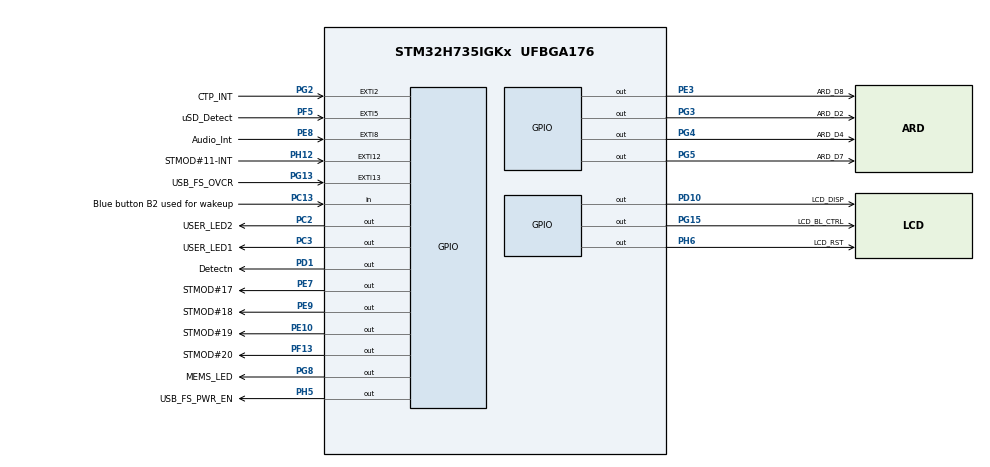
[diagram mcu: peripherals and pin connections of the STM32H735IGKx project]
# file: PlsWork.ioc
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Mcu.Family=STM32H7
Mcu.Name=STM32H735IGKx
Mcu.Package=UFBGA176
NVIC.PriorityGroup=NVIC_PRIORITYGROUP_4
PA0.GPIO_Label=ARD_D3
PA0.Signal=S_TIM5_CH1
PA0_C.GPIO_Label=ARD_A2
PA0_C.Signal=ADCx_INP0
PA1.GPIO_Label=RMII_REF_CLK
PA1.GPIO_Speed=GPIO_SPEED_FREQ_LOW
PA1.Signal=ETH_REF_CLK
PA10.GPIO_Label=USB_FS_ID
PA10.Signal=USB_OTG_HS_ID
PA11.GPIO_Label=USB_FS_DM
PA11.Signal=USB_OTG_HS_DM
PA12.GPIO_Label=USB_FS_DP
PA12.Signal=USB_OTG_HS_DP
PA13(JTMS/SWDIO).GPIO_Label=JTMS
PA13(JTMS/SWDIO).Signal=DEBUG_JTMS-SWDIO
PA14(JTCK/SWCLK).GPIO_Label=JTCK
PA14(JTCK/SWCLK).Signal=DEBUG_JTCK-SWCLK
PA15(JTDI).GPIO_Label=JTDI
PA15(JTDI).Signal=DEBUG_JTDI
PA1_C.GPIO_Label=ARD_A3
PA1_C.Signal=ADCx_INP1
PA2.GPIO_Label=RMII_MDIO
PA2.GPIO_Speed=GPIO_SPEED_FREQ_LOW
PA2.Signal=ETH_MDIO
PA3.GPIO_Label=LCD_B5
PA3.GPIO_Speed=GPIO_SPEED_FREQ_LOW
PA3.Signal=LTDC_B5
PA4.GPIO_Label=LCD_VSYNC
PA4.GPIO_Speed=GPIO_SPEED_FREQ_LOW
PA4.Signal=LTDC_VSYNC
PA5.GPIO_Label=DAC1_OUT2
PA5.Signal=COMP_DAC12_group
PA6.GPIO_Label=LCD_G2
PA6.GPIO_Speed=GPIO_SPEED_FREQ_LOW
PA6.Signal=LTDC_G2
PA7.GPIO_Label=RMII_CRS_DV
PA7.GPIO_Speed=GPIO_SPEED_FREQ_LOW
PA7.Signal=ETH_CRS_DV
PA8.GPIO_Label=LCD_B3
PA8.GPIO_Speed=GPIO_SPEED_FREQ_LOW
PA8.Signal=LTDC_B3
PA9.GPIO_Label=USB_FS_VBUS
PA9.Signal=USB_OTG_HS_VBUS
PB0.GPIO_Label=LCD_G1
PB0.GPIO_Speed=GPIO_SPEED_FREQ_LOW
PB0.Signal=LTDC_G1
PB1.GPIO_Label=LCD_G0
PB1.GPIO_Speed=GPIO_SPEED_FREQ_LOW
PB1.Signal=LTDC_G0
PB10.GPIO_Label=RMII_RX_ER
PB10.Signal=ETH_RX_ER
PB11.GPIO_Label=RMII_TX_EN
PB11.GPIO_Speed=GPIO_SPEED_FREQ_LOW
PB11.Signal=ETH_TX_EN
PB12.GPIO_Label=RMII_TXD0
PB12.GPIO_Speed=GPIO_SPEED_FREQ_LOW
PB12.Signal=ETH_TXD0
PB13.GPIO_Label=RMII_TXD1
PB13.GPIO_Speed=GPIO_SPEED_FREQ_LOW
PB13.Signal=ETH_TXD1
PB14.GPIO_Label=ARD_D1
PB14.GPIO_PuPd=GPIO_NOPULL
PB14.Signal=USART1_TX
PB15.GPIO_Label=ARD_D0
PB15.GPIO_PuPd=GPIO_NOPULL
PB15.Signal=USART1_RX
PB2.GPIO_Label=OCSPI1_DQS
PB2.Signal=OCTOSPIM_P1_DQS
PB3(JTDO/TRACESWO).GPIO_Label=JTDO
PB3(JTDO/TRACESWO).Signal=DEBUG_JTDO-SWO
PB4(NJTRST).GPIO_Label=NJTRST
PB4(NJTRST).Signal=DEBUG_JTRST
PB5.GPIO_Label=FDCAN2_RX
PB5.Signal=FDCAN2_RX
PB6.GPIO_Label=FDCAN2_TX
PB6.Signal=FDCAN2_TX
PB7.GPIO_Label=ARD_D9
PB7.Signal=S_TIM4_CH2
PB8.GPIO_Label=LCD_B6
PB8.GPIO_Speed=GPIO_SPEED_FREQ_LOW
PB8.Signal=LTDC_B6
PB9.GPIO_Label=LCD_B7
PB9.GPIO_Speed=GPIO_SPEED_FREQ_LOW
PB9.Signal=LTDC_B7
PC0.GPIO_Label=ARD_A0
PC0.Signal=ADCx_INP10
PC1.GPIO_Label=RMII_MDC
PC1.GPIO_Speed=GPIO_SPEED_FREQ_LOW
PC1.Signal=ETH_MDC
PC10.GPIO_Label=SDIO1_D2
PC10.Signal=SDMMC1_D2
PC11.GPIO_Label=SDIO1_D3
PC11.Signal=SDMMC1_D3
PC12.GPIO_Label=SDIO1_CK
PC12.Signal=SDMMC1_CK
PC13.GPIO_Label=Blue button B2 used for wakeup
PC13.Signal=GPIO_Input
PC2.GPIO_Label=USER_LED2
PC2.Signal=GPIO_Output
PC2_C.GPIO_Label=ARD_A4
PC2_C.Signal=ADC3_INP0
PC3.GPIO_Label=USER_LED1
PC3.Signal=GPIO_Output
PC3_C.GPIO_Label=ARD_A5
PC3_C.Signal=ADC3_INP1
PC4.GPIO_Label=RMII_RXD0
PC4.GPIO_Speed=GPIO_SPEED_FREQ_LOW
PC4.Signal=ETH_RXD0
PC5.GPIO_Label=RMII_RXD1
PC5.GPIO_Speed=GPIO_SPEED_FREQ_LOW
PC5.Signal=ETH_RXD1
PC6.GPIO_Label=LCD_HSYNC
PC6.GPIO_Speed=GPIO_SPEED_FREQ_LOW
PC6.Signal=LTDC_HSYNC
PC7.GPIO_Label=LCD_G6
PC7.GPIO_Speed=GPIO_SPEED_FREQ_LOW
PC7.Signal=LTDC_G6
PC8.GPIO_Label=SDIO1_D0
PC8.Signal=SDMMC1_D0
PC9.GPIO_Label=SDIO1_D1
PC9.Signal=SDMMC1_D1
PD0.GPIO_Label=LCD_B1
PD0.GPIO_Speed=GPIO_SPEED_FREQ_LOW
PD0.Signal=LTDC_B1
PD1.GPIO_Label=Detectn
PD1.GPIO_PuPd=GPIO_NOPULL
PD1.Signal=GPIO_Output
PD10.GPIO_Label=LCD_DISP
PD10.GPIO_Speed=GPIO_SPEED_FREQ_LOW
PD10.Signal=GPIO_Output
PD11.GPIO_Label=OCSPI1_IO0
PD11.Signal=OCTOSPIM_P1_IO0
PD12.GPIO_Label=OCSPI1_IO1
PD12.Signal=OCTOSPIM_P1_IO1
PD13.GPIO_Label=OCSPI1_IO3
PD13.Signal=OCTOSPIM_P1_IO3
PD14.GPIO_Label=STMOD\#14-PWM
PD14.Signal=S_TIM4_CH3
PD15.GPIO_Label=ARD_D6
PD15.Signal=S_TIM4_CH4
PD2.GPIO_Label=SDIO1_CMD
PD2.Signal=SDMMC1_CMD
PD3.GPIO_Label=LCD_G7
PD3.GPIO_Speed=GPIO_SPEED_FREQ_LOW
PD3.Signal=LTDC_G7
PD4.GPIO_Label=OCSPI1_IO4
PD4.Signal=OCTOSPIM_P1_IO4
PD5.GPIO_Label=OCSPI1_IO5
PD5.Signal=OCTOSPIM_P1_IO5
PD6.GPIO_Label=LCD_B2
PD6.GPIO_Speed=GPIO_SPEED_FREQ_LOW
PD6.Signal=LTDC_B2
PD7.GPIO_Label=OCSPI1_IO7
PD7.Signal=OCTOSPIM_P1_IO7
PD8.GPIO_Label=T_VCP_TX
PD8.GPIO_PuPd=GPIO_NOPULL
PD8.Signal=USART3_TX
PD9.GPIO_Label=T_VCP_RX
PD9.GPIO_PuPd=GPIO_NOPULL
PD9.Signal=USART3_RX
PE0.GPIO_Label=LCD_R0
PE0.GPIO_Speed=GPIO_SPEED_FREQ_LOW
PE0.Signal=LTDC_R0
PE1.GPIO_Label=LCD_R6
PE1.GPIO_Speed=GPIO_SPEED_FREQ_LOW
PE1.Signal=LTDC_R6
PE10.GPIO_Label=STMOD\#19
PE10.Signal=GPIO_Output
PE11.GPIO_Label=LCD_G3
PE11.GPIO_Speed=GPIO_SPEED_FREQ_LOW
PE11.Signal=LTDC_G3
PE12.GPIO_Label=LCD_B4
PE12.GPIO_Speed=GPIO_SPEED_FREQ_LOW
PE12.Signal=LTDC_B4
PE13.GPIO_Label=LCD_DE
PE13.GPIO_Speed=GPIO_SPEED_FREQ_LOW
PE13.Signal=LTDC_DE
PE14.GPIO_Label=ARD_D5
PE14.Signal=S_TIM1_CH4
PE15.GPIO_Label=LCD_R7
PE15.GPIO_Speed=GPIO_SPEED_FREQ_LOW
PE15.Signal=LTDC_R7
PE2.GPIO_Label=OCSPI1_IO2
PE2.Signal=OCTOSPIM_P1_IO2
PE3.GPIO_Label=ARD_D8
PE3.Signal=GPIO_Output
PE4.GPIO_Label=SAI4_D2
PE4.Signal=SAI4_D2
PE5.GPIO_Label=SAI4_CK2
PE5.Signal=SAI4_CK2
PE6.GPIO_Label=SAI1_SD_A
PE6.Signal=SAI1_SD_A
PE7.GPIO_Label=STMOD\#17
PE7.Signal=GPIO_Output
PE8.GPIO_Label=Audio_Int
PE8.Signal=GPXTI8
PE9.GPIO_Label=STMOD\#18
PE9.Signal=GPIO_Output
PF0.GPIO_Label=OCSPI2_IO0
PF0.Signal=OCTOSPIM_P2_IO0
PF1.GPIO_Label=OCSPI2_IO1
PF1.Signal=OCTOSPIM_P2_IO1
PF10.GPIO_Label=OCSPI1_CLK
PF10.Signal=OCTOSPIM_P1_CLK
PF11.GPIO_Label=SPI5_MOSI
PF11.Signal=SPI5_MOSI
PF12.GPIO_Label=OCSPI2_DQS
PF12.Signal=OCTOSPIM_P2_DQS
PF13.GPIO_Label=STMOD\#20
PF13.Signal=GPIO_Output
PF14.GPIO_Label=I2C4_SCL
PF14.Signal=I2C4_SCL
PF15.GPIO_Label=I2C4_SDA
PF15.Signal=I2C4_SDA
PF2.GPIO_Label=OCSPI2_IO2
PF2.Signal=OCTOSPIM_P2_IO2
PF3.GPIO_Label=OCSPI2_IO3
PF3.Signal=OCTOSPIM_P2_IO3
PF4.GPIO_Label=OCSPI2_CLK
PF4.Signal=OCTOSPIM_P2_CLK
PF5.GPIO_Label=uSD_Detect
PF5.Signal=GPXTI5
PF6.GPIO_Label=SAI1_SD_B
PF6.Signal=SAI1_SD_B
PF7.GPIO_Label=SAI1_MCLK_B
PF7.Signal=SAI1_MCLK_B
PF8.GPIO_Label=SAI1_SCK_B
PF8.Signal=SAI1_SCK_B
PF9.GPIO_Label=SAI1_FS_B
PF9.Signal=SAI1_FS_B
PG0.GPIO_Label=OCSPI2_IO4
PG0.Signal=OCTOSPIM_P2_IO4
PG1.GPIO_Label=OCSPI2_IO5
PG1.Signal=OCTOSPIM_P2_IO5
PG10.GPIO_Label=OCSPI2_IO6
PG10.Signal=OCTOSPIM_P2_IO6
PG11.GPIO_Label=OCSPI2_IO7
PG11.Signal=OCTOSPIM_P2_IO7
PG12.GPIO_Label=OCSPI2_NCS
PG12.Signal=OCTOSPIM_P2_NCS
PG13.GPIO_Label=USB_FS_OVCR
PG13.Signal=GPXTI13
PG14.GPIO_Label=LCD_B0
PG14.GPIO_Speed=GPIO_SPEED_FREQ_LOW
PG14.Signal=LTDC_B0
PG15.GPIO_Label=LCD_BL_CTRL
PG15.GPIO_Speed=GPIO_SPEED_FREQ_LOW
PG15.Signal=GPIO_Output
PG2.GPIO_Label=CTP_INT
PG2.Signal=GPXTI2
PG3.GPIO_Label=ARD_D2
PG3.Signal=GPIO_Output
PG4.GPIO_Label=ARD_D4
PG4.Signal=GPIO_Output
PG5.GPIO_Label=ARD_D7
PG5.Signal=GPIO_Output
PG6.GPIO_Label=OCSPI1_NCS
PG6.Signal=OCTOSPIM_P1_NCS
PG7.GPIO_Label=LCD_CLK
PG7.GPIO_Speed=GPIO_SPEED_FREQ_LOW
PG7.Signal=LTDC_CLK
PG8.GPIO_Label=MEMS_LED
PG8.Signal=GPIO_Output
PG9.GPIO_Label=OCSPI1_IO6
PG9.Signal=OCTOSPIM_P1_IO6
PH10.GPIO_Label=LCD_R4
PH10.GPIO_Speed=GPIO_SPEED_FREQ_LOW
PH10.Signal=LTDC_R4
PH11.GPIO_Label=LCD_R5
PH11.GPIO_Speed=GPIO_SPEED_FREQ_LOW
PH11.Signal=LTDC_R5
PH12.GPIO_Label=STMOD\#11-INT
PH12.Signal=GPXTI12
PH13.GPIO_Label=FDCAN1_TX
PH13.Signal=FDCAN1_TX
PH14.GPIO_Label=FDCAN1_RX
PH14.Signal=FDCAN1_RX
PH15.GPIO_Label=LCD_G4
PH15.GPIO_Speed=GPIO_SPEED_FREQ_LOW
PH15.Signal=LTDC_G4
PH2.GPIO_Label=ARD_A1
PH2.Signal=ADC3_INP13
PH3.GPIO_Label=LCD_R1
PH3.GPIO_Speed=GPIO_SPEED_FREQ_LOW
PH3.Signal=LTDC_R1
PH4.GPIO_Label=LCD_G5
PH4.GPIO_Speed=GPIO_SPEED_FREQ_LOW
PH4.Signal=LTDC_G5
PH5.GPIO_Label=USB_FS_PWR_EN
PH5.Signal=GPIO_Output
PH6.GPIO_Label=LCD_RST
PH6.GPIO_Speed=GPIO_SPEED_FREQ_LOW
PH6.Signal=GPIO_Output
PH7.GPIO_Label=SPI5_MISO
PH7.Signal=SPI5_MISO
PH8.GPIO_Label=LCD_R2
PH8.GPIO_Speed=GPIO_SPEED_FREQ_LOW
PH8.Signal=LTDC_R2
PH9.GPIO_Label=LCD_R3
PH9.GPIO_Speed=GPIO_SPEED_FREQ_LOW
PH9.Signal=LTDC_R3
ProjectManager.HeapSize=0x200
ProjectManager.StackSize=0x400
ProjectManager.TargetToolchain=STM32CubeIDE
RCC.ADCFreq_Value=204800000
RCC.APB1Freq_Value=48000000
RCC.APB2Freq_Value=48000000
RCC.APB3Freq_Value=48000000
RCC.APB4Freq_Value=48000000
RCC.CortexFreq_Value=192000000
RCC.D1PPRE=RCC_APB3_DIV2
RCC.D2PPRE1=RCC_APB1_DIV2
RCC.D2PPRE2=RCC_APB2_DIV2
RCC.D3PPRE=RCC_APB4_DIV2
RCC.DIVM1=5
RCC.DIVM2=5
RCC.DIVM3=13
RCC.DIVN1=15
RCC.DIVN2=80
RCC.DIVN3=4
RCC.DIVP1=1
RCC.DIVP2=5
RCC.DIVQ1=4
RCC.HCLKFreq_Value=96000000
RCC.HPRE=RCC_HCLK_DIV2
RCC.PLL2FRACN=0
RCC.PLL3FRACN=0
RCC.PLLFRACN=0
RCC.SYSCLKFreq_VALUE=192000000
RCC.SYSCLKSource=RCC_SYSCLKSOURCE_PLLCLK
RCC.USBCLockSelection=RCC_USBCLKSOURCE_HSI48
RCC.USBFreq_Value=48000000
SH.ADCx_INP0.0=ADC1_INP0
SH.ADCx_INP0.1=ADC2_INP0
SH.ADCx_INP1.0=ADC2_INP1
SH.ADCx_INP1.1=ADC1_INP1
SH.ADCx_INP10.0=ADC1_INP10
SH.COMP_DAC12_group.0=DAC1_OUT2
SH.S_TIM1_CH4.0=TIM1_CH4
SH.S_TIM4_CH2.0=TIM4_CH2
SH.S_TIM4_CH3.0=TIM4_CH3
SH.S_TIM4_CH4.0=TIM4_CH4
SH.S_TIM5_CH1.0=TIM5_CH1
VP_MEMORYMAP_VS_MEMORYMAP.Mode=CurAppReg
VP_OCTOSPI1_VS_octo.Mode=octo_mode
board=STM32H735G-DK

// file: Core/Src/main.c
/* USER CODE BEGIN Header */
/**
  ******************************************************************************
  * @file           : main.c
  * @brief          : Main program body
  ******************************************************************************
  * @attention
  *
  * Copyright (c) 2026 STMicroelectronics.
  * All rights reserved.
  *
  * This software is licensed under terms that can be found in the LICENSE file
  * in the root directory of this software component.
  * If no LICENSE file comes with this software, it is provided AS-IS.
  *
  ******************************************************************************
  */
/* USER CODE END Header */
#include "main.h"
#include "octospi.h"
#include "gpio.h"

/* USER CODE BEGIN Includes */
#include "parotconf.h"
#include "display.h"
#include "touchscreen.h"
#include "sound.h"
#include "state.h"
/* USER CODE END Includes */

/* USER CODE BEGIN PV */
SystemContext_t AppContext;
/* USER CODE END PV */

void SystemClock_Config(void);
/* USER CODE BEGIN PFP */
void MPU_Config(void);
/* USER CODE END PFP */

int main(void)
{

  /* MCU Configuration--------------------------------------------------------*/

  /* Reset of all peripherals, Initializes the Flash interface and the Systick. */
  HAL_Init();

  /* USER CODE BEGIN Init */
  MPU_Config();
  /* USER CODE END Init */

  /* Configure the system clock */
  SystemClock_Config();

  /* Initialize all configured peripherals */
  MX_GPIO_Init();
  MX_OCTOSPI1_Init();
  /* USER CODE BEGIN 2 */

  State_Init(&AppContext);

  /* USER CODE END 2 */

    /* Infinite loop */
    /* USER CODE BEGIN WHILE */
	while (1)
	{
		State_Machine_Run(&AppContext);
		/* USER CODE END WHILE */

		/* USER CODE BEGIN 3 */
		HAL_Delay(20);

	}
	/* USER CODE END 3 */
}
void SystemClock_Config(void)
{
  RCC_OscInitTypeDef RCC_OscInitStruct = {0};
  RCC_ClkInitTypeDef RCC_ClkInitStruct = {0};
  RCC_PeriphCLKInitTypeDef PeriphClkInitStruct = {0};

  /* Supply configuration update enable */
  HAL_PWREx_ConfigSupply(PWR_DIRECT_SMPS_SUPPLY);

  /* Configure the main internal regulator output voltage */
  __HAL_PWR_VOLTAGESCALING_CONFIG(PWR_REGULATOR_VOLTAGE_SCALE0);

  while(!__HAL_PWR_GET_FLAG(PWR_FLAG_VOSRDY)) {}

  /* Initializes the RCC Oscillators */
  RCC_OscInitStruct.OscillatorType = RCC_OSCILLATORTYPE_HSE;
  RCC_OscInitStruct.HSEState = RCC_HSE_ON;
  RCC_OscInitStruct.PLL.PLLState = RCC_PLL_ON;
  RCC_OscInitStruct.PLL.PLLSource = RCC_PLLSOURCE_HSE;
  RCC_OscInitStruct.PLL.PLLM = 5;
  RCC_OscInitStruct.PLL.PLLN = 110;
  RCC_OscInitStruct.PLL.PLLP = 1;
  RCC_OscInitStruct.PLL.PLLQ = 2;
  RCC_OscInitStruct.PLL.PLLR = 2;
  RCC_OscInitStruct.PLL.PLLRGE = RCC_PLL1VCIRANGE_2;
  RCC_OscInitStruct.PLL.PLLVCOSEL = RCC_PLL1VCOWIDE;
  RCC_OscInitStruct.PLL.PLLFRACN = 0;
  if (HAL_RCC_OscConfig(&RCC_OscInitStruct) != HAL_OK)
  {
    Error_Handler();
  }

  /* Initializes the CPU, AHB and APB buses clocks */
  RCC_ClkInitStruct.ClockType = RCC_CLOCKTYPE_HCLK|RCC_CLOCKTYPE_SYSCLK
                              |RCC_CLOCKTYPE_PCLK1|RCC_CLOCKTYPE_PCLK2
                              |RCC_CLOCKTYPE_D3PCLK1|RCC_CLOCKTYPE_D1PCLK1;
  RCC_ClkInitStruct.SYSCLKSource = RCC_SYSCLKSOURCE_PLLCLK;
  RCC_ClkInitStruct.SYSCLKDivider = RCC_SYSCLK_DIV1;
  RCC_ClkInitStruct.AHBCLKDivider = RCC_HCLK_DIV2;
  RCC_ClkInitStruct.APB3CLKDivider = RCC_APB3_DIV2;
  RCC_ClkInitStruct.APB1CLKDivider = RCC_APB1_DIV2;
  RCC_ClkInitStruct.APB2CLKDivider = RCC_APB2_DIV2;
  RCC_ClkInitStruct.APB4CLKDivider = RCC_APB4_DIV2;

  if (HAL_RCC_ClockConfig(&RCC_ClkInitStruct, FLASH_LATENCY_3) != HAL_OK)
  {
    Error_Handler();
  }

  /* --- CRITICAL SECTION: OSPI CLOCK SETUP --- */

  // 1. Configure PLL2 to generate 200 MHz
  // HSE = 25MHz. M=5 -> 5MHz. N=80 -> 400MHz VCO. R=2 -> 200MHz Output.
  PeriphClkInitStruct.PeriphClockSelection = RCC_PERIPHCLK_OSPI;
  PeriphClkInitStruct.PLL2.PLL2M = 5;
  PeriphClkInitStruct.PLL2.PLL2N = 80; // VCO = 400 MHz
  PeriphClkInitStruct.PLL2.PLL2P = 2;
  PeriphClkInitStruct.PLL2.PLL2Q = 2;
  PeriphClkInitStruct.PLL2.PLL2R = 2; // 400 MHz / 2 = 200 MHz
  PeriphClkInitStruct.PLL2.PLL2RGE = RCC_PLL2VCIRANGE_2;
  PeriphClkInitStruct.PLL2.PLL2VCOSEL = RCC_PLL2VCOWIDE;
  PeriphClkInitStruct.PLL2.PLL2FRACN = 0;

  // 2. Select PLL2R as the source for OSPI
  PeriphClkInitStruct.OspiClockSelection = RCC_OSPICLKSOURCE_PLL2;

  if (HAL_RCCEx_PeriphCLKConfig(&PeriphClkInitStruct) != HAL_OK)
  {
    Error_Handler();
  }
}

/* USER CODE BEGIN 4 */

void MPU_Config(void)
{
  MPU_Region_InitTypeDef MPU_InitStruct = {0};

  /* Disables the MPU */
  HAL_MPU_Disable();

  /** Initializes and configures the Region and the memory to be protected
  * The Octo-SPI HyperRAM is mapped at 0x70000000 on the H735G-DK
  */
  MPU_InitStruct.Enable = MPU_REGION_ENABLE;
  MPU_InitStruct.Number = MPU_REGION_NUMBER0;
  MPU_InitStruct.BaseAddress = 0x70000000; // Standard Address for OSPI RAM
  MPU_InitStruct.Size = MPU_REGION_SIZE_64MB; // Size of the HyperRAM
  MPU_InitStruct.SubRegionDisable = 0x0;
  MPU_InitStruct.TypeExtField = MPU_TEX_LEVEL1; // Change to Normal, Non-Cacheable memory (TEX=1) to prevent HardFaults on unaligned/burst access
  MPU_InitStruct.AccessPermission = MPU_REGION_FULL_ACCESS;
  MPU_InitStruct.DisableExec = MPU_INSTRUCTION_ACCESS_DISABLE;
  MPU_InitStruct.IsShareable = MPU_ACCESS_SHAREABLE;
  MPU_InitStruct.IsCacheable = MPU_ACCESS_NOT_CACHEABLE; // Critical for LCD
  MPU_InitStruct.IsBufferable = MPU_ACCESS_NOT_BUFFERABLE;

  HAL_MPU_ConfigRegion(&MPU_InitStruct);

  /* Enables the MPU */
  HAL_MPU_Enable(MPU_PRIVILEGED_DEFAULT);
}

/* USER CODE END 4 */

void Error_Handler(void)
{
  __disable_irq();
  while (1)
  {
  }
}
